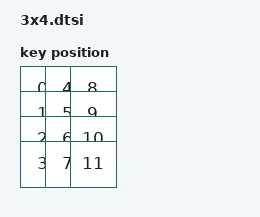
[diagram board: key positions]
#include <layouts/tester_xiao/position_map.dtsi>
#include <physical_layouts.dtsi>

/ {
    tester_xiao_layout: tester_xiao_layout {
        compatible = "zmk,physical-layout";
        display-name = "3x4";

        keys  //                     w   h    x    y     rot    rx    ry
            = <&key_physical_attrs 100 100    0   50       0     0     0>
            , <&key_physical_attrs 100 100    0   100      0     0     0>
            , <&key_physical_attrs 100 100    0   150      0     0     0>
            , <&key_physical_attrs 100 100    0   200      0     0     0>
            , <&key_physical_attrs 100 100   50   50       0     0     0>
            , <&key_physical_attrs 100 100   50   100      0     0     0>
            , <&key_physical_attrs 100 100   50   150      0     0     0>
            , <&key_physical_attrs 100 100   50   200      0     0     0>
            , <&key_physical_attrs 100 100  100   50       0     0     0>
            , <&key_physical_attrs 100 100  100   100      0     0     0>
            , <&key_physical_attrs 100 100  100   150      0     0     0>
            , <&key_physical_attrs 100 100  100   200      0     0     0>
        ;
    };
};

&layouts_tester_xiao_position_map {
    tester_xiao_posmap: three {
        physical-layout = <&tester_xiao_layout>;
        positions
            = <0  1  2>
            , <3  4  5>
            , <6  7  8>
            , <9  10 11>;
    };
};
